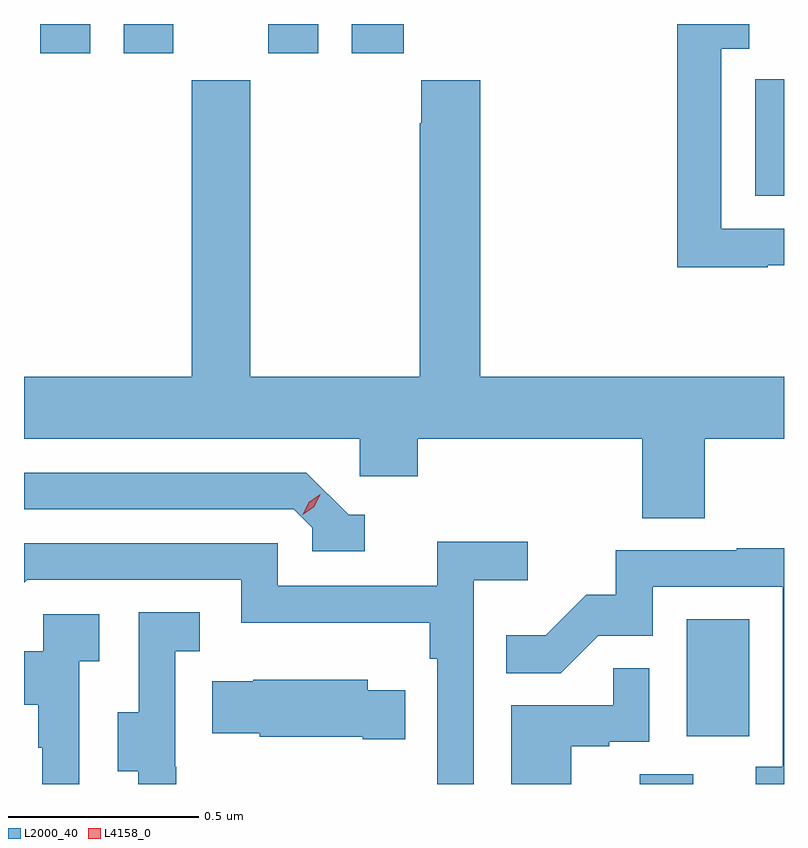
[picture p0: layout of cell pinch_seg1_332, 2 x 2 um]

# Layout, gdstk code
import gdstk
lib = gdstk.Library(unit=1e-6, precision=1e-09)
def R(c, l, rs):  # rectangles x0, y0, x1, y1
    for r in rs: c.add(gdstk.rectangle(r[:2], r[2:], *l))
def P(c, l, *ps):  # polygons
    for p in ps: c.add(gdstk.Polygon(p, *l))
L2000_40 = (2000, 40)
L4158_0 = (4158, 0)

pinch_seg1_332 = lib.new_cell('pinch_seg1_332')
R(pinch_seg1_332, L2000_40, [(1015.055,548.16,1015.195,548.186), (1015.178,548.286,1015.342,548.593), (1015.358,549.708,1015.434,550.015), (1013.477,550.083,1013.608,550.16), (1013.696,550.083,1013.827,550.16), (1014.077,550.083,1014.208,550.16), (1014.296,550.083,1014.433,550.16)])
P(pinch_seg1_332, L2000_40, [(1015.391,549.525),(1015.434,549.525),(1015.434,549.621),(1015.269,549.621),(1015.269,550.095),(1015.342,550.095),(1015.342,550.16),(1015.153,550.16),(1015.153,549.52),(1015.391,549.52)],
  [(1015.226,549.068),(1015.434,549.068),(1015.434,549.232),(1014.635,549.232),(1014.635,550.012),(1014.479,550.012),(1014.479,549.899),(1014.475,549.899),(1014.475,549.232),(1014.03,549.232),(1014.03,550.012),(1013.875,550.012),(1013.875,549.232),(1013.434,549.232),(1013.434,549.068),(1014.318,549.068),(1014.318,548.97),(1014.47,548.97),(1014.47,549.068),(1015.061,549.068),(1015.061,548.86),(1015.226,548.86)],
  [(1014.331,548.868),(1014.288,548.868),(1014.177,548.979),(1013.434,548.979),(1013.434,548.883),(1014.144,548.883),(1014.192,548.835),(1014.192,548.772),(1014.331,548.772)],
  [(1014.618,548.696),(1014.76,548.696),(1014.76,548.798),(1014.521,548.798),(1014.521,548.682),(1014.102,548.682),(1014.102,548.793),(1013.434,548.793),(1013.434,548.689),(1013.442,548.697),(1014.006,548.697),(1014.006,548.585),(1014.502,548.585),(1014.502,548.489),(1014.522,548.489),(1014.522,548.16),(1014.618,548.16)],
  [(1015.434,548.78),(1015.309,548.78),(1015.309,548.775),(1014.991,548.775),(1014.991,548.658),(1014.914,548.658),(1014.807,548.551),(1014.703,548.551),(1014.703,548.452),(1014.847,548.452),(1014.945,548.55),(1015.089,548.55),(1015.089,548.679),(1015.431,548.679),(1015.431,548.205),(1015.359,548.205),(1015.359,548.16),(1015.434,548.16)],
  [(1013.834,548.205),(1013.832,548.205),(1013.832,548.509),(1013.896,548.509),(1013.896,548.612),(1013.736,548.612),(1013.736,548.349),(1013.681,548.349),(1013.681,548.194),(1013.735,548.194),(1013.735,548.16),(1013.834,548.16)],
  [(1013.58,548.483),(1013.632,548.483),(1013.632,548.607),(1013.484,548.607),(1013.484,548.509),(1013.434,548.509),(1013.434,548.369),(1013.472,548.369),(1013.472,548.255),(1013.482,548.255),(1013.482,548.16),(1013.58,548.16)],
  [(1014.874,548.259),(1014.974,548.259),(1014.974,548.271),(1015.08,548.271),(1015.08,548.465),(1014.985,548.465),(1014.985,548.367),(1014.716,548.367),(1014.716,548.16),(1014.874,548.16)],
  [(1014.437,548.407),(1014.339,548.407),(1014.339,548.434),(1014.037,548.434),(1014.037,548.431),(1013.929,548.431),(1013.929,548.294),(1014.054,548.294),(1014.054,548.285),(1014.326,548.285),(1014.326,548.278),(1014.437,548.278)])
P(pinch_seg1_332, L4158_0, [(1014.167,548.869),(1014.167,548.87),(1014.183,548.902),(1014.214,548.923),(1014.214,548.923),(1014.214,548.922),(1014.198,548.889),(1014.168,548.869)])

lib.write_gds('pinch_seg1_332.gds')
